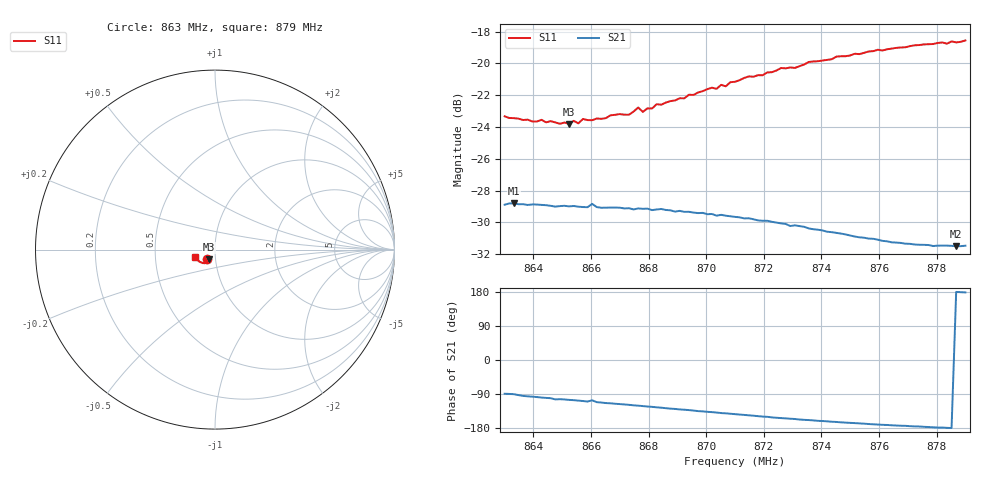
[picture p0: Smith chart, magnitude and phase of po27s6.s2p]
# HZ S RI R 50
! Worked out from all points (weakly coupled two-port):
!   101 points, 863 MHz to 879 MHz, reference 50 ohm
!   highest |S21| = -28.80 dB at 863.32 MHz (marker M1); lowest = -31.5 dB at 878.68 MHz (marker M2)
!   lowest |S11| = -23.8 dB at 865.24 MHz (marker M3), VSWR 1.14, Z = 46.3 - j5.03 ohm
!   |S11| at or under -10 dB: start of sweep to end of sweep
!   S12 and S22 are empty: the file has one direction only
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8.63e8  -0.0438 -0.0522  0.000585 -0.0359  0 0  0 0
8.6332e8  -0.04 -0.0541  -0.000107 -0.0363  0 0  0 0
8.6524e8  -0.0352 -0.0541  -0.00934 -0.0343  0 0  0 0
8.654e8  -0.0357 -0.0555  -0.00982 -0.0342  0 0  0 0
8.6556e8  -0.0351 -0.0544  -0.0104 -0.0339  0 0  0 0
8.6572e8  -0.0348 -0.0571  -0.0111 -0.0336  0 0  0 0
8.6604e8  -0.0335 -0.0572  -0.0102 -0.0347  0 0  0 0
8.6636e8  -0.0347 -0.0573  -0.0134 -0.0325  0 0  0 0
8.6668e8  -0.0341 -0.0596  -0.0145 -0.0321  0 0  0 0
8.6732e8  -0.0337 -0.0602  -0.0166 -0.0308  0 0  0 0
8.6764e8  -0.0352 -0.0636  -0.0177 -0.0302  0 0  0 0
8.678e8  -0.0335 -0.0619  -0.0183 -0.0297  0 0  0 0
8.6828e8  -0.0351 -0.0657  -0.0199 -0.0285  0 0  0 0
8.6844e8  -0.0354 -0.0652  -0.0204 -0.0282  0 0  0 0
8.71e8  -0.047 -0.0739  -0.0262 -0.0199  0 0  0 0
8.7196e8  -0.0535 -0.0746  -0.0275 -0.0163  0 0  0 0
8.726e8  -0.0592 -0.0766  -0.0281 -0.0141  0 0  0 0
8.7308e8  -0.0617 -0.0746  -0.0282 -0.0127  0 0  0 0
8.7372e8  -0.0675 -0.0758  -0.0282 -0.0106  0 0  0 0
8.7644e8  -0.0922 -0.0624  -0.0271 -0.00367  0 0  0 0
8.7868e8  -0.1081 -0.0434  -0.0266 0.000161  0 0  0 0
8.79e8  -0.1108 -0.041  -0.0267 0.000742  0 0  0 0
